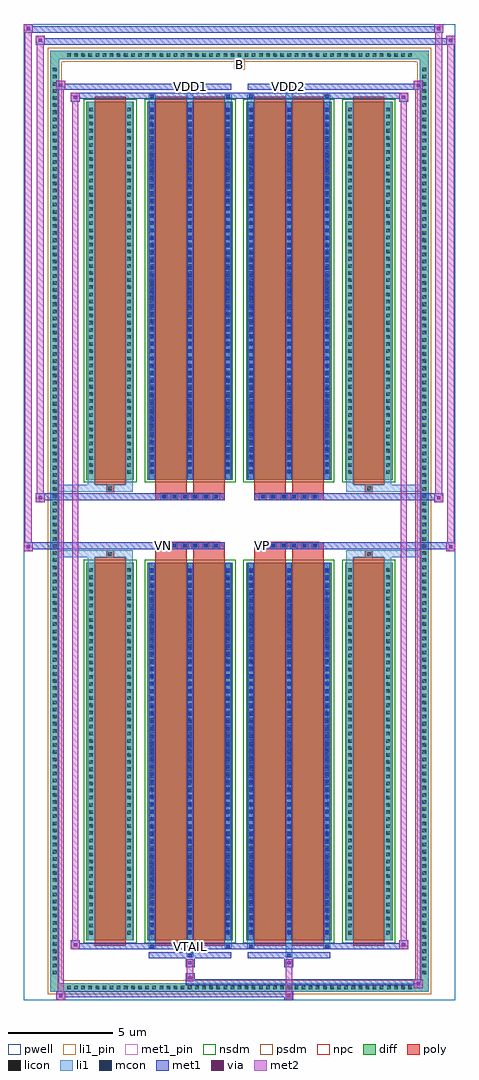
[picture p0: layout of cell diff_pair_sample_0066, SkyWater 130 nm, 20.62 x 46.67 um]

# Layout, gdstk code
import gdstk
lib = gdstk.Library(unit=1e-6, precision=5e-09)
def R(c, l, rs):  # rectangles x0, y0, x1, y1
    for r in rs: c.add(gdstk.rectangle(r[:2], r[2:], *l))
def A(c, l, x, y, w, h, nx, ny, dx, dy):  # array of equal rectangles
    R(c, l, [(x+i*dx, y+j*dy, x+i*dx+w, y+j*dy+h) for i in range(nx) for j in range(ny)])
def P(c, l, *ps):  # polygons
    for p in ps: c.add(gdstk.Polygon(p, *l))
pwell = (64, 44)
diff = (65, 20)
poly = (66, 20)
licon = (66, 44)
li1_pin = (67, 16)
li1 = (67, 20)
mcon = (67, 44)
met1_pin = (68, 16)
met1 = (68, 20)
via = (68, 44)
met2 = (69, 20)
nsdm = (93, 44)
psdm = (94, 20)
npc = (95, 20)

diff_pair_sample_0066 = lib.new_cell('diff_pair_sample_0066')
R(diff_pair_sample_0066, pwell, [(-10.31,-22.9,10.31,23.77), (-7.63,-21.09,-0.01,-0.805), (0.01,-21.09,7.63,-0.805), (-7.63,0.805,-0.01,21.09), (0.01,0.805,7.63,21.09)])
A(diff_pair_sample_0066, diff, -8.365, -22.5, 0.41, 0.41, 49, 2, 0.34, 44.59)
A(diff_pair_sample_0066, diff, -9.04, -21.795, 0.41, 0.41, 1, 128, 0, 0.34)
A(diff_pair_sample_0066, diff, 8.63, -21.795, 0.41, 0.41, 1, 128, 0, 0.34)
R(diff_pair_sample_0066, diff, [(-8.365,-22.5,8.365,-22.09), (-9.04,-21.795,-8.63,21.795), (8.63,-21.795,9.04,21.795), (-7.32,-20.045,-5.05,-1.985), (-4.41,-20.045,-0.32,-1.985), (0.32,-20.045,4.41,-1.985), (5.05,-20.045,7.32,-1.985), (-7.32,1.985,-5.05,20.045), (-4.41,1.985,-0.32,20.045), (0.32,1.985,4.41,20.045), (5.05,1.985,7.32,20.045), (-8.365,22.09,8.365,22.5)])
P(diff_pair_sample_0066, diff, [(9.04,22.5),(-9.04,22.5),(-9.04,-22.09),(-8.63,-22.09),(-8.63,22.09),(8.63,22.09),(8.63,-22.09),(-8.63,-22.09),(-9.04,-22.09),(-9.04,-22.5),(9.04,-22.5)])
A(diff_pair_sample_0066, poly, -3.78, -1.335, 0.33, 0.33, 6, 2, 0.5, 2.34)
A(diff_pair_sample_0066, poly, 0.95, -1.335, 0.33, 0.33, 6, 2, 0.5, 2.34)
R(diff_pair_sample_0066, poly, [(-6.93,-20.295,-5.44,-1.735), (-4.02,-20.295,-2.53,-1.735), (-2.2,-20.295,-0.71,-1.735), (0.71,-20.295,2.2,-1.735), (2.53,-20.295,4.02,-1.735), (5.44,-20.295,6.93,-1.735), (-6.35,-1.735,-6.02,-1.405), (-6.35,-1.735,-6.02,-1.405), (-4.02,-1.735,-2.53,-1.335), (-2.2,-1.735,-0.71,-1.335), (0.71,-1.735,2.2,-1.335), (2.53,-1.735,4.02,-1.335), (6.02,-1.735,6.35,-1.405), (6.02,-1.735,6.35,-1.405), (-4.02,-1.335,-0.71,-1.005), (0.71,-1.335,4.02,-1.005), (-4.02,1.005,-0.71,1.335), (0.71,1.005,4.02,1.335), (-4.02,1.335,-2.53,1.735), (-2.2,1.335,-0.71,1.735), (0.71,1.335,2.2,1.735), (2.53,1.335,4.02,1.735), (-6.35,1.405,-6.02,1.735), (-6.35,1.405,-6.02,1.735), (6.02,1.405,6.35,1.735), (6.02,1.405,6.35,1.735), (-6.93,1.735,-5.44,20.295), (-4.02,1.735,-2.53,20.295), (-2.2,1.735,-0.71,20.295), (0.71,1.735,2.2,20.295), (2.53,1.735,4.02,20.295), (5.44,1.735,6.93,20.295)])
A(diff_pair_sample_0066, licon, -8.245, -22.38, 0.17, 0.17, 49, 2, 0.34, 44.59)
A(diff_pair_sample_0066, licon, -8.92, -21.675, 0.17, 0.17, 1, 128, 0, 0.34)
A(diff_pair_sample_0066, licon, 8.75, -21.675, 0.17, 0.17, 1, 128, 0, 0.34)
A(diff_pair_sample_0066, licon, -7.18, -19.77, 0.17, 0.17, 1, 52, 0, 0.34)
A(diff_pair_sample_0066, licon, -5.36, -19.77, 0.17, 0.17, 1, 52, 0, 0.34)
A(diff_pair_sample_0066, licon, -4.27, -19.77, 0.17, 0.17, 3, 52, 1.82, 0.34)
A(diff_pair_sample_0066, licon, 0.46, -19.77, 0.17, 0.17, 3, 52, 1.82, 0.34)
A(diff_pair_sample_0066, licon, 5.19, -19.77, 0.17, 0.17, 1, 52, 0, 0.34)
A(diff_pair_sample_0066, licon, 7.01, -19.77, 0.17, 0.17, 1, 52, 0, 0.34)
A(diff_pair_sample_0066, licon, -3.7, -1.255, 0.17, 0.17, 6, 2, 0.5, 2.34)
A(diff_pair_sample_0066, licon, 1.03, -1.255, 0.17, 0.17, 6, 2, 0.5, 2.34)
A(diff_pair_sample_0066, licon, -7.18, 2.26, 0.17, 0.17, 1, 52, 0, 0.34)
A(diff_pair_sample_0066, licon, -5.36, 2.26, 0.17, 0.17, 1, 52, 0, 0.34)
A(diff_pair_sample_0066, licon, -4.27, 2.26, 0.17, 0.17, 3, 52, 1.82, 0.34)
A(diff_pair_sample_0066, licon, 0.46, 2.26, 0.17, 0.17, 3, 52, 1.82, 0.34)
A(diff_pair_sample_0066, licon, 5.19, 2.26, 0.17, 0.17, 1, 52, 0, 0.34)
A(diff_pair_sample_0066, licon, 7.01, 2.26, 0.17, 0.17, 1, 52, 0, 0.34)
R(diff_pair_sample_0066, licon, [(-6.27,-1.655,-6.1,-1.485), (6.1,-1.655,6.27,-1.485), (-6.27,1.485,-6.1,1.655), (6.1,1.485,6.27,1.655)])
R(diff_pair_sample_0066, li1_pin, [(-0.25,21.59,0.25,22.09)])
A(diff_pair_sample_0066, li1, -8.325, -22.46, 0.33, 0.33, 49, 2, 0.34, 44.59)
A(diff_pair_sample_0066, li1, -9, -21.755, 0.33, 0.33, 1, 128, 0, 0.34)
A(diff_pair_sample_0066, li1, 8.67, -21.755, 0.33, 0.33, 1, 128, 0, 0.34)
A(diff_pair_sample_0066, li1, -4.35, -20.045, 0.33, 18.06, 3, 2, 1.82, 22.03)
A(diff_pair_sample_0066, li1, 0.38, -20.045, 0.33, 18.06, 3, 2, 1.82, 22.03)
A(diff_pair_sample_0066, li1, -7.26, -19.85, 0.33, 0.33, 1, 52, 0, 0.34)
A(diff_pair_sample_0066, li1, -5.44, -19.85, 0.33, 0.33, 1, 52, 0, 0.34)
A(diff_pair_sample_0066, li1, -4.35, -19.85, 0.33, 0.33, 3, 52, 1.82, 0.34)
A(diff_pair_sample_0066, li1, 0.38, -19.85, 0.33, 0.33, 3, 52, 1.82, 0.34)
A(diff_pair_sample_0066, li1, 5.11, -19.85, 0.33, 0.33, 1, 52, 0, 0.34)
A(diff_pair_sample_0066, li1, 6.93, -19.85, 0.33, 0.33, 1, 52, 0, 0.34)
A(diff_pair_sample_0066, li1, -4.27, -19.74, 0.17, 0.17, 3, 49, 1.82, 0.36)
A(diff_pair_sample_0066, li1, -4.27, -19.74, 0.17, 17.45, 3, 2, 1.82, 22.03)
A(diff_pair_sample_0066, li1, 0.46, -19.74, 0.17, 0.17, 3, 49, 1.82, 0.36)
A(diff_pair_sample_0066, li1, 0.46, -19.74, 0.17, 17.45, 3, 2, 1.82, 22.03)
A(diff_pair_sample_0066, li1, -3.78, -1.335, 0.33, 0.33, 6, 2, 0.5, 2.34)
A(diff_pair_sample_0066, li1, 0.95, -1.335, 0.33, 0.33, 6, 2, 0.5, 2.34)
A(diff_pair_sample_0066, li1, -7.26, 2.18, 0.33, 0.33, 1, 52, 0, 0.34)
A(diff_pair_sample_0066, li1, -5.44, 2.18, 0.33, 0.33, 1, 52, 0, 0.34)
A(diff_pair_sample_0066, li1, -4.35, 2.18, 0.33, 0.33, 3, 52, 1.82, 0.34)
A(diff_pair_sample_0066, li1, 0.38, 2.18, 0.33, 0.33, 3, 52, 1.82, 0.34)
A(diff_pair_sample_0066, li1, 5.11, 2.18, 0.33, 0.33, 1, 52, 0, 0.34)
A(diff_pair_sample_0066, li1, 6.93, 2.18, 0.33, 0.33, 1, 52, 0, 0.34)
A(diff_pair_sample_0066, li1, -4.27, 2.29, 0.17, 0.17, 3, 49, 1.82, 0.36)
A(diff_pair_sample_0066, li1, 0.46, 2.29, 0.17, 0.17, 3, 49, 1.82, 0.36)
R(diff_pair_sample_0066, li1, [(-9.04,-22.5,-8.63,-22.09), (-9.04,-22.5,-8.63,-22.09), (-8.63,-22.5,8.63,-22.09), (8.63,-22.5,9.04,-22.09), (8.63,-22.5,9.04,-22.09), (-9.04,-22.09,-8.63,22.09), (8.63,-22.09,9.04,22.09), (-2.53,-20.85,-2.2,-20.045), (-2.45,-20.85,-2.28,-20.68), (2.2,-20.85,2.53,-20.045), (2.28,-20.85,2.45,-20.68), (-4.35,-20.42,-4.02,-20.045), (-4.27,-20.42,-4.1,-20.25), (-0.71,-20.42,-0.38,-20.045), (-0.63,-20.42,-0.46,-20.25), (0.38,-20.42,0.71,-20.045), (0.46,-20.42,0.63,-20.25), (4.02,-20.42,4.35,-20.045), (4.1,-20.42,4.27,-20.25), (-7.26,-20.045,-6.93,-1.985), (-5.44,-20.045,-5.11,-1.985), (5.11,-20.045,5.44,-1.985), (6.93,-20.045,7.26,-1.985), (-7.26,-1.985,-6.93,-1.405), (-5.44,-1.985,-5.11,-1.405), (5.11,-1.985,5.44,-1.405), (6.93,-1.985,7.26,-1.405), (-9.04,-1.735,-6.35,-1.405), (-7.26,-1.735,-6.35,-1.405), (-6.35,-1.735,-6.02,-1.405), (-6.02,-1.735,-5.11,-1.405), (5.11,-1.735,6.02,-1.405), (6.02,-1.735,6.35,-1.405), (6.02,-1.735,9.04,-1.405), (6.35,-1.735,7.26,-1.405), (-9.04,1.405,-6.35,1.735), (-7.26,1.405,-6.35,1.735), (-7.26,1.405,-6.93,1.985), (-6.35,1.405,-6.02,1.735), (-6.02,1.405,-5.11,1.735), (-5.44,1.405,-5.11,1.985), (5.11,1.405,6.02,1.735), (5.11,1.405,5.44,1.985), (6.02,1.405,6.35,1.735), (6.02,1.405,9.04,1.735), (6.35,1.405,7.26,1.735), (6.93,1.405,7.26,1.985), (-7.26,1.985,-6.93,20.045), (-5.44,1.985,-5.11,20.045), (5.11,1.985,5.44,20.045), (6.93,1.985,7.26,20.045), (-4.35,20.045,-4.02,20.42), (-2.53,20.045,-2.2,20.85), (-0.71,20.045,-0.38,20.42), (0.38,20.045,0.71,20.42), (2.2,20.045,2.53,20.85), (4.02,20.045,4.35,20.42), (-4.27,20.25,-4.1,20.42), (-0.63,20.25,-0.46,20.42), (0.46,20.25,0.63,20.42), (4.1,20.25,4.27,20.42), (-2.45,20.68,-2.28,20.85), (2.28,20.68,2.45,20.85), (-9.04,22.09,-8.63,22.5), (-9.04,22.09,-8.63,22.5), (-8.63,22.09,8.63,22.5), (8.63,22.09,9.04,22.5), (8.63,22.09,9.04,22.5)])
A(diff_pair_sample_0066, mcon, -4.27, -19.74, 0.17, 0.17, 3, 49, 1.82, 0.36)
A(diff_pair_sample_0066, mcon, 0.46, -19.74, 0.17, 0.17, 3, 49, 1.82, 0.36)
A(diff_pair_sample_0066, mcon, -3.7, -1.255, 0.17, 0.17, 6, 2, 0.5, 2.34)
A(diff_pair_sample_0066, mcon, 1.03, -1.255, 0.17, 0.17, 6, 2, 0.5, 2.34)
A(diff_pair_sample_0066, mcon, -4.27, 2.29, 0.17, 0.17, 3, 49, 1.82, 0.36)
A(diff_pair_sample_0066, mcon, 0.46, 2.29, 0.17, 0.17, 3, 49, 1.82, 0.36)
R(diff_pair_sample_0066, mcon, [(-2.45,-20.85,-2.28,-20.68), (2.28,-20.85,2.45,-20.68), (-4.27,-20.42,-4.1,-20.25), (-0.63,-20.42,-0.46,-20.25), (0.46,-20.42,0.63,-20.25), (4.1,-20.42,4.27,-20.25), (-4.27,20.25,-4.1,20.42), (-0.63,20.25,-0.46,20.42), (0.46,20.25,0.63,20.42), (4.1,20.25,4.27,20.42), (-2.45,20.68,-2.28,20.85), (2.28,20.68,2.45,20.85)])
R(diff_pair_sample_0066, met1_pin, [(-2.5,-20.46,-2.23,-20.19), (-3.75,-1.295,-3.48,-1.025), (0.98,-1.295,1.25,-1.025), (-2.5,20.64,-2.23,20.91), (2.23,20.64,2.5,20.91)])
A(diff_pair_sample_0066, met1, -4.33, -20.045, 0.29, 18.06, 3, 2, 1.82, 22.03)
A(diff_pair_sample_0066, met1, 0.4, -20.045, 0.29, 18.06, 3, 2, 1.82, 22.03)
A(diff_pair_sample_0066, met1, -4.33, -19.8, 0.29, 0.29, 3, 49, 1.82, 0.36)
A(diff_pair_sample_0066, met1, 0.4, -19.8, 0.29, 0.29, 3, 49, 1.82, 0.36)
A(diff_pair_sample_0066, met1, -3.76, -1.315, 0.29, 0.29, 6, 2, 0.5, 2.34)
A(diff_pair_sample_0066, met1, 0.97, -1.315, 0.29, 0.29, 6, 2, 0.5, 2.34)
A(diff_pair_sample_0066, met1, -4.33, 2.23, 0.29, 0.29, 3, 49, 1.82, 0.36)
A(diff_pair_sample_0066, met1, 0.4, 2.23, 0.29, 0.29, 3, 49, 1.82, 0.36)
R(diff_pair_sample_0066, met1, [(-8.77,-22.9,-8.34,-22.47), (2.15,-22.9,2.58,-22.47), (-8.77,-22.76,2.58,-22.47), (8.34,-22.33,8.77,-21.9), (-2.58,-22.19,8.77,-21.9), (-2.58,-22.05,-2.15,-21.62), (-2.58,-21.34,-2.15,-20.91), (2.15,-21.34,2.58,-20.91), (-4.33,-20.91,-0.4,-20.62), (-2.51,-20.91,-2.22,-20.62), (0.4,-20.91,4.33,-20.62), (2.22,-20.91,2.51,-20.62), (-8.06,-20.48,-7.63,-20.05), (-8.06,-20.48,-4.33,-20.19), (-4.33,-20.48,-4.04,-20.19), (-4.33,-20.48,-0.4,-20.19), (-0.69,-20.48,-0.4,-20.19), (-0.4,-20.48,0.4,-20.19), (0.4,-20.48,0.69,-20.19), (0.4,-20.48,4.33,-20.19), (4.04,-20.48,4.33,-20.19), (4.33,-20.48,8.06,-20.19), (7.63,-20.48,8.06,-20.05), (-10.31,-1.435,-9.88,-1.005), (9.88,-1.435,10.31,-1.005), (-10.31,-1.335,-0.71,-1.005), (-4.02,-1.335,-0.71,-1.005), (0.71,-1.335,4.02,-1.005), (0.71,-1.335,10.31,-1.005), (-9.74,0.905,-9.31,1.335), (9.31,0.905,9.74,1.335), (-9.74,1.005,-4.02,1.335), (-4.02,1.005,-0.71,1.335), (0.71,1.005,4.02,1.335), (4.02,1.005,9.74,1.335), (-8.06,20.05,-7.63,20.48), (7.63,20.05,8.06,20.48), (-8.06,20.19,-4.33,20.48), (-4.33,20.19,-4.04,20.48), (-4.33,20.19,-0.4,20.48), (-0.69,20.19,-0.4,20.48), (-0.4,20.19,0.4,20.48), (0.4,20.19,0.69,20.48), (0.4,20.19,4.33,20.48), (4.04,20.19,4.33,20.48), (4.33,20.19,8.06,20.48), (-8.77,20.62,-8.34,21.05), (-8.77,20.62,-4.33,20.91), (-4.33,20.62,-0.4,20.91), (-2.51,20.62,-2.22,20.91), (0.4,20.62,4.33,20.91), (2.22,20.62,2.51,20.91), (4.33,20.62,8.77,20.91), (8.34,20.62,8.77,21.05), (-9.74,22.77,-9.31,23.2), (-9.74,22.77,-7.63,23.1), (-7.63,22.77,7.63,23.1), (7.63,22.77,10.31,23.1), (9.88,22.77,10.31,23.2), (-10.31,23.34,-9.88,23.77), (-10.31,23.34,-7.63,23.67), (-7.63,23.34,7.63,23.67), (7.63,23.34,9.74,23.67), (9.31,23.34,9.74,23.77)])
R(diff_pair_sample_0066, via, [(-8.63,-22.76,-8.48,-22.61), (2.29,-22.76,2.44,-22.61), (8.48,-22.19,8.63,-22.04), (-2.44,-21.91,-2.29,-21.76), (-2.44,-21.2,-2.29,-21.05), (2.29,-21.2,2.44,-21.05), (-7.92,-20.34,-7.77,-20.19), (7.77,-20.34,7.92,-20.19), (-10.17,-1.295,-10.02,-1.145), (10.02,-1.295,10.17,-1.145), (-9.6,1.045,-9.45,1.195), (9.45,1.045,9.6,1.195), (-7.92,20.19,-7.77,20.34), (7.77,20.19,7.92,20.34), (-8.63,20.76,-8.48,20.91), (8.48,20.76,8.63,20.91), (-9.6,22.91,-9.45,23.06), (10.02,22.91,10.17,23.06), (-10.17,23.48,-10.02,23.63), (9.45,23.48,9.6,23.63)])
R(diff_pair_sample_0066, met2, [(-8.77,-22.9,-8.34,-22.47), (-8.7,-22.9,-8.41,21.05), (-8.41,-22.9,-8.34,-22.47), (-8.72,-22.85,-8.39,-22.52), (2.2,-22.85,2.53,-22.52), (2.2,-22.52,2.53,-21.29), (8.34,-22.33,8.77,-21.9), (8.41,-22.33,8.7,21.05), (8.7,-22.33,8.77,-21.9), (8.39,-22.28,8.72,-21.95), (-2.53,-22,-2.2,-21.67), (-2.53,-21.67,-2.2,-21.29), (-2.53,-21.29,-2.2,-20.96), (2.2,-21.29,2.53,-20.96), (-8.06,-20.48,-7.63,-20.05), (-7.99,-20.48,-7.7,20.48), (-7.7,-20.48,-7.63,-20.05), (7.63,-20.48,8.06,-20.05), (7.7,-20.48,7.99,20.48), (7.99,-20.48,8.06,-20.05), (-8.01,-20.43,-7.68,-20.1), (7.68,-20.43,8.01,-20.1), (-10.31,-1.435,-9.88,-1.005), (-10.26,-1.435,-9.93,23.77), (-9.93,-1.435,-9.88,-1.005), (9.88,-1.435,10.31,-1.005), (9.93,-1.435,10.26,23.2), (10.26,-1.435,10.31,-1.005), (-10.26,-1.385,-9.93,-1.055), (9.93,-1.385,10.26,-1.055), (-9.74,0.905,-9.31,1.335), (-9.69,0.905,-9.36,23.2), (-9.36,0.905,-9.31,1.335), (9.31,0.905,9.74,1.335), (9.36,0.905,9.69,23.77), (9.69,0.905,9.74,1.335), (-9.69,0.955,-9.36,1.285), (9.36,0.955,9.69,1.285), (-8.06,20.05,-7.63,20.48), (-7.7,20.05,-7.63,20.48), (7.63,20.05,8.06,20.48), (7.99,20.05,8.06,20.48), (-8.01,20.1,-7.68,20.43), (7.68,20.1,8.01,20.43), (-8.77,20.62,-8.34,21.05), (-8.41,20.62,-8.34,21.05), (8.34,20.62,8.77,21.05), (8.7,20.62,8.77,21.05), (-8.72,20.67,-8.39,21), (8.39,20.67,8.72,21), (-9.74,22.77,-9.31,23.2), (-9.36,22.77,-9.31,23.2), (9.88,22.77,10.31,23.2), (10.26,22.77,10.31,23.2), (-9.69,22.82,-9.36,23.15), (9.93,22.82,10.26,23.15), (-10.31,23.34,-9.88,23.77), (-9.93,23.34,-9.88,23.77), (9.31,23.34,9.74,23.77), (9.69,23.34,9.74,23.77), (-10.26,23.39,-9.93,23.72), (9.36,23.39,9.69,23.72)])
R(diff_pair_sample_0066, nsdm, [(-7.45,-20.175,-4.92,-1.855), (-4.54,-20.175,-0.19,-1.855), (0.19,-20.175,4.54,-1.855), (4.92,-20.175,7.45,-1.855), (-7.45,1.855,-4.92,20.175), (-4.54,1.855,-0.19,20.175), (0.19,1.855,4.54,20.175), (4.92,1.855,7.45,20.175)])
P(diff_pair_sample_0066, psdm, [(9.17,22.63),(-9.17,22.63),(-9.17,-21.96),(-8.5,-21.96),(-8.5,21.96),(8.5,21.96),(8.5,-21.96),(-8.5,-21.96),(-9.17,-21.96),(-9.17,-22.63),(9.17,-22.63)])
A(diff_pair_sample_0066, npc, -3.8, -1.355, 0.37, 0.37, 6, 2, 0.5, 2.34)
A(diff_pair_sample_0066, npc, 0.93, -1.355, 0.37, 0.37, 6, 2, 0.5, 2.34)
R(diff_pair_sample_0066, npc, [(-6.37,-1.755,-6,-1.385), (6,-1.755,6.37,-1.385), (-3.8,-1.355,-2.93,-0.985), (-3.8,-1.355,-2.93,-0.985), (-3.3,-1.355,-2.43,-0.985), (-3.3,-1.355,-2.43,-0.985), (-2.8,-1.355,-1.93,-0.985), (-2.8,-1.355,-1.93,-0.985), (-2.3,-1.355,-1.43,-0.985), (-2.3,-1.355,-1.43,-0.985), (-1.8,-1.355,-0.93,-0.985), (-1.8,-1.355,-0.93,-0.985), (0.93,-1.355,1.8,-0.985), (0.93,-1.355,1.8,-0.985), (1.43,-1.355,2.3,-0.985), (1.43,-1.355,2.3,-0.985), (1.93,-1.355,2.8,-0.985), (1.93,-1.355,2.8,-0.985), (2.43,-1.355,3.3,-0.985), (2.43,-1.355,3.3,-0.985), (2.93,-1.355,3.8,-0.985), (2.93,-1.355,3.8,-0.985), (-3.8,0.985,-2.93,1.355), (-3.8,0.985,-2.93,1.355), (-3.3,0.985,-2.43,1.355), (-3.3,0.985,-2.43,1.355), (-2.8,0.985,-1.93,1.355), (-2.8,0.985,-1.93,1.355), (-2.3,0.985,-1.43,1.355), (-2.3,0.985,-1.43,1.355), (-1.8,0.985,-0.93,1.355), (-1.8,0.985,-0.93,1.355), (0.93,0.985,1.8,1.355), (0.93,0.985,1.8,1.355), (1.43,0.985,2.3,1.355), (1.43,0.985,2.3,1.355), (1.93,0.985,2.8,1.355), (1.93,0.985,2.8,1.355), (2.43,0.985,3.3,1.355), (2.43,0.985,3.3,1.355), (2.93,0.985,3.8,1.355), (2.93,0.985,3.8,1.355), (-6.37,1.385,-6,1.755), (6,1.385,6.37,1.755)])
diff_pair_sample_0066.add(gdstk.Label('VTAIL', (-2.365,-20.325), layer=68, texttype=5))
diff_pair_sample_0066.add(gdstk.Label('VN', (-3.615,-1.16), layer=68, texttype=5))
diff_pair_sample_0066.add(gdstk.Label('VP', (1.115,-1.16), layer=68, texttype=5))
diff_pair_sample_0066.add(gdstk.Label('B', (0,21.84), layer=67, texttype=5))
diff_pair_sample_0066.add(gdstk.Label('VDD2', (2.365,20.775), layer=68, texttype=5))
diff_pair_sample_0066.add(gdstk.Label('VDD1', (-2.365,20.775), layer=68, texttype=5))

lib.write_gds('diff_pair_sample_0066.gds')
